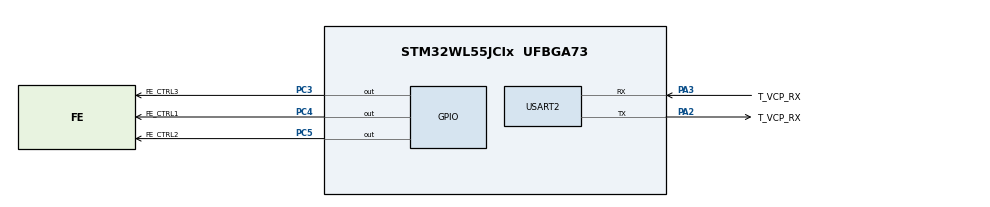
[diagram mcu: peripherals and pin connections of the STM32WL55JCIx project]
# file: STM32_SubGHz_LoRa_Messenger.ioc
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Mcu.Family=STM32WL
Mcu.Name=STM32WL55JCIx
Mcu.Package=UFBGA73
NVIC.PriorityGroup=NVIC_PRIORITYGROUP_4
NVIC.SUBGHZ_Radio_IRQn=true\:0\:0\:false\:false\:true\:true\:true\:true
NVIC.USART2_IRQn=true\:0\:0\:false\:false\:true\:true\:true\:true
PA2.GPIO_Label=T_VCP_RX
PA2.Mode=Asynchronous
PA2.Signal=USART2_TX
PA3.GPIO_Label=T_VCP_RX
PA3.Mode=Asynchronous
PA3.Signal=USART2_RX
PC14-OSC32_IN.GPIO_Label=RCC_OSC32_IN
PC14-OSC32_IN.Signal=RCC_OSC32_IN
PC15-OSC32_OUT.GPIO_Label=RCC_OSC32_OUT
PC15-OSC32_OUT.Signal=RCC_OSC32_OUT
PC3.GPIO_Label=FE_CTRL3
PC3.GPIO_Speed=GPIO_SPEED_FREQ_VERY_HIGH
PC3.Signal=GPIO_Output
PC4.GPIO_Label=FE_CTRL1
PC4.GPIO_Speed=GPIO_SPEED_FREQ_VERY_HIGH
PC4.Signal=GPIO_Output
PC5.GPIO_Label=FE_CTRL2
PC5.GPIO_Speed=GPIO_SPEED_FREQ_VERY_HIGH
PC5.Signal=GPIO_Output
ProjectManager.HeapSize=0x200
ProjectManager.StackSize=0x400
ProjectManager.TargetToolchain=STM32CubeIDE
RCC.AHBFreq_Value=48000000
RCC.APB1Freq_Value=48000000
RCC.APB1TimFreq_Value=48000000
RCC.APB2Freq_Value=48000000
RCC.APB2TimFreq_Value=48000000
RCC.APB3Freq_Value=48000000
RCC.CortexFreq_Value=48000000
RCC.HCLKFreq_Value=48000000
RCC.HSE_VALUE=32000000
RCC.HSI_VALUE=16000000
RCC.LSE_VALUE=32768
RCC.MSIClockRange=RCC_MSIRANGE_11
RCC.SYSCLKFreq_VALUE=48000000
RCC.VCOOutputFreq_Value=384000000
SUBGHZ.BaudratePrescaler=SUBGHZSPI_BAUDRATEPRESCALER_4
USART2.VirtualMode-Asynchronous=VM_ASYNC
VP_SUBGHZ_VS_SUBGHZ.Mode=SUBGHZ_Activate
board=NUCLEO-WL55JC1

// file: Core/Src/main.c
/* USER CODE BEGIN Header */
/**
  ******************************************************************************
  * @file           : main.c
  * @brief          : Main program body
  ******************************************************************************
  * @attention
  *
  * Copyright (c) 2025 STMicroelectronics.
  * All rights reserved.
  *
  * This software is licensed under terms that can be found in the LICENSE file
  * in the root directory of this software component.
  * If no LICENSE file comes with this software, it is provided AS-IS.
  *
  ******************************************************************************
  */
/* USER CODE END Header */
#include "main.h"
#include "subghz.h"
#include "usart.h"
#include "gpio.h"

/* USER CODE BEGIN Includes */

#include "radio_driver.h"
#include "stm32wlxx_nucleo.h" // Gives LED helpers

/* USER CODE END Includes */

/* USER CODE BEGIN PTD */

typedef enum{
	MASTER,
	SLAVE
} State;

typedef enum{
	RX,
	TX
} SubState;

typedef struct{
	State state;
	SubState subState;
	uint32_t rxTimeout, txDelay;
	uint8_t rxLen;
	char rxBuffer[RX_BUFFER_SIZE];
} SessionContext;

/* USER CODE END PTD */

/* USER CODE BEGIN PM */

#define MAX_BUFFER_SIZE 		256
#define RF_FREQ		 			868000000 	// Hz = 868 MHz - Ranges in PK {433.05 - 434.79}, {865 - 869}, {920 - 925}
#define TX_POWER		 		14        	// dBm
#define LORA_BANDWIDTH 			LORA_BW_125	// 125 kHz
#define LORA_SPREADING_FACTOR 	LORA_SF7	// SF7
#define LORA_CODING_RATE 		LORA_CR_4_5	// 4/5
#define LORA_PREAMBLE_LENGTH 	8         	// Same for Tx and Rx
#define RETRY_LIMIT				10

/* USER CODE END PM */

/* USER CODE BEGIN PV */

uint8_t buffer[MAX_BUFFER_SIZE], output[MAX_BUFFER_SIZE], input[1];
uint16_t count = 0, retries = RETRY_LIMIT;
bool messageReady = false, connected = false;
char id[21] = "\r\nSetting your ID as", backup[MAX_BUFFER_SIZE];
int idLen = -2;

void (*volatile currentEvent)(SessionContext*);
PacketParams_t packetParams;

/* USER CODE END PV */

void SystemClock_Config(void);
/* USER CODE BEGIN PFP */

void UART_Transmit(const char*);
void interruptTerminal(const char*);
void resetTerminal();

void Radio_Init();
void Radio_DIO_IRq_Callback_Handler(const RadioIrqMasks_t);
void SUBGRF_Transmit(uint8_t*, const uint8_t);

void error_event(SessionContext*);
void RX_done_event(SessionContext*);
void start_RX_mode(SessionContext*);
void start_TX_mode(SessionContext*);

void prepareMessage(const char*);

/* USER CODE END PFP */

int main(void)
{

  /* MCU Configuration--------------------------------------------------------*/

  /* Reset of all peripherals, Initializes the Flash interface and the Systick. */
  HAL_Init();

  /* Configure the system clock */
  SystemClock_Config();

  /* USER CODE BEGIN SysInit */

  HAL_Delay(3000);

  /* USER CODE END SysInit */

  /* Initialize all configured peripherals */
  MX_GPIO_Init();
  MX_SUBGHZ_Init();
  MX_USART2_UART_Init();
  /* USER CODE BEGIN 2 */

  BSP_LED_Init(LED_BLUE);	// Connected Master
  BSP_LED_Init(LED_GREEN);	// Connected Slave
  BSP_LED_Init(LED_RED);	// Disconnected

  Radio_Init();

  /* USER CODE END 2 */

  /* Infinite loop */
  /* USER CODE BEGIN WHILE */

  snprintf((char*)buffer, MAX_BUFFER_SIZE, "\r\n\r\nSTM32 SubGHz LoRa Messenger\r\n\r\nPlease Enter an ID of maximum 20 characters: ");
  UART_Transmit((char*)buffer);
  while(!messageReady) HAL_UART_Receive_IT(&huart2, input, 1);
  HAL_NVIC_DisableIRQ(USART2_IRQn);
  idLen = snprintf(id, 20, "%s", (char*)output);
  UART_Transmit(id);
  UART_Transmit("\r\n\r\n");
  resetTerminal();

  BSP_LED_On(LED_RED); 							// Disconnected at first

  SessionContext sessionContext = {
		  .state = MASTER,						// Start as Master
		  .rxTimeout = 3000,					// ms
		  // get random number from Radio's RNG (from RSSI noise)
		  .txDelay = SUBGRF_GetRandom() >> 22	// (0 to 1023) ms
  };
  start_RX_mode(&sessionContext);				// Start by listening

  HAL_NVIC_EnableIRQ(USART2_IRQn);
  messageReady = false;

  while(1){
    /* USER CODE END WHILE */

	currentEvent = NULL;
	while(!currentEvent) HAL_UART_Receive_IT(&huart2, input, 1);
	currentEvent(&sessionContext);

  }
}

void SystemClock_Config(void)
{
  RCC_OscInitTypeDef RCC_OscInitStruct = {0};
  RCC_ClkInitTypeDef RCC_ClkInitStruct = {0};

  /** Configure the main internal regulator output voltage
  */
  __HAL_PWR_VOLTAGESCALING_CONFIG(PWR_REGULATOR_VOLTAGE_SCALE1);

  /** Initializes the CPU, AHB and APB buses clocks
  */
  RCC_OscInitStruct.OscillatorType = RCC_OSCILLATORTYPE_MSI;
  RCC_OscInitStruct.MSIState = RCC_MSI_ON;
  RCC_OscInitStruct.MSICalibrationValue = RCC_MSICALIBRATION_DEFAULT;
  RCC_OscInitStruct.MSIClockRange = RCC_MSIRANGE_11;
  RCC_OscInitStruct.PLL.PLLState = RCC_PLL_NONE;
  if (HAL_RCC_OscConfig(&RCC_OscInitStruct) != HAL_OK)
  {
    Error_Handler();
  }

  /** Configure the SYSCLKSource, HCLK, PCLK1 and PCLK2 clocks dividers
  */
  RCC_ClkInitStruct.ClockType = RCC_CLOCKTYPE_HCLK3|RCC_CLOCKTYPE_HCLK
                              |RCC_CLOCKTYPE_SYSCLK|RCC_CLOCKTYPE_PCLK1
                              |RCC_CLOCKTYPE_PCLK2;
  RCC_ClkInitStruct.SYSCLKSource = RCC_SYSCLKSOURCE_MSI;
  RCC_ClkInitStruct.AHBCLKDivider = RCC_SYSCLK_DIV1;
  RCC_ClkInitStruct.APB1CLKDivider = RCC_HCLK_DIV1;
  RCC_ClkInitStruct.APB2CLKDivider = RCC_HCLK_DIV1;
  RCC_ClkInitStruct.AHBCLK3Divider = RCC_SYSCLK_DIV1;

  if (HAL_RCC_ClockConfig(&RCC_ClkInitStruct, FLASH_LATENCY_2) != HAL_OK)
  {
    Error_Handler();
  }
}

/* USER CODE BEGIN 4 */
/* 👆🏼
 *  Enables backup domain access, sets LSE drive, uses MSI as SYSCLK, no PLL;
 *  APB clocks = AHB = SYSCLK;
 *  flash latency 2.
 *  This is a low-power, simple config suitable for the WL.
 */

void UART_Transmit(const char* string){
	HAL_UART_Transmit(&huart2, (uint8_t*)string, strlen(string), HAL_MAX_DELAY);
}

void resetTerminal(){
	count = snprintf((char*)buffer, MAX_BUFFER_SIZE, "%s: ", id);
	UART_Transmit((char*)buffer);
}

void interruptTerminal(const char* interruption){
	for(uint16_t x = 0; x < count; x++) UART_Transmit("\b \b");
	UART_Transmit("\r\n");
	UART_Transmit(interruption);
	UART_Transmit("\r\n\r\n");
	HAL_UART_Transmit(&huart2, buffer, count, HAL_MAX_DELAY);
}

void HAL_UART_RxCpltCallback(UART_HandleTypeDef *huart){
	switch(input[0]){
		case 0xd:	// carriage return
		case 0xa:	// line feed
			UART_Transmit("\r\n");
			sprintf((char*)output, "%s", (char*)buffer);
			output[count] = '\0';
			messageReady = true;
			resetTerminal();
			break;

		case 0x8:	// backspace
			if(count > (idLen + 2)){
				count--;
				UART_Transmit("\b \b");
			}
			break;

		default:
			if(count < MAX_BUFFER_SIZE){
				buffer[count++] = input[0];
				HAL_UART_Transmit(huart, input, 1, HAL_MAX_DELAY);
			}
	}
}

void Radio_DIO_IRq_Callback_Handler(const RadioIrqMasks_t radioIRq){
	switch(radioIRq){
		case IRQ_TX_DONE:
			currentEvent = start_RX_mode;
			return;

		case IRQ_RX_DONE:
			if(!connected){
				connected = true;
				retries = 0;
				BSP_LED_Off(LED_RED);
				interruptTerminal("Connected");
			}
			currentEvent = RX_done_event;
			return;

		case IRQ_RX_TX_TIMEOUT:
			switch(SUBGRF_GetOperatingMode()){
				case MODE_TX: // TX Timeout
					interruptTerminal("TX TIMEOUT");
					break;

				case MODE_RX:	// RX Timeout
					if(connected) if(++retries > RETRY_LIMIT){
						connected = false;
						BSP_LED_On(LED_RED);
						BSP_LED_Off(LED_BLUE|LED_GREEN);
						interruptTerminal("Disconnected");
					}
					break;
				default:break;
			}
			break;

		case IRQ_CRC_ERROR: // Rx Error
			interruptTerminal("RX CRC ERROR");
			prepareMessage("\\\\\\");
		default: break;
	}
	currentEvent = error_event;
}

/** Initialize the Sub-GHz radio and dependent hardware.
  */
void Radio_Init(){
	// Initialize the hardware (SPI bus, TCXO control, RF switch) or the SUBGHZ (SX126x) and registers the IRQ callback.
	SUBGRF_Init(Radio_DIO_IRq_Callback_Handler);

	// Use DCDC converter if `DCDC_ENABLE` is defined in radio_conf.h
	// "By default, the SMPS clock detection is disabled and must be enabled before enabling the SMPS." (6.1 in RM0453)
	SUBGRF_WriteRegister(SUBGHZ_SMPSC0R, (SUBGRF_ReadRegister(SUBGHZ_SMPSC0R) | SMPS_CLK_DET_ENABLE));
	SUBGRF_SetRegulatorMode(); // use DCDC if configured in radio_conf.h

	// Use the whole 256-byte buffer for both TX and RX (starting at 0)
	SUBGRF_SetBufferBaseAddress(0x00, 0x00);

	SUBGRF_SetRfFrequency(RF_FREQ);
	SUBGRF_SetRfTxPower(TX_POWER);
	SUBGRF_SetStopRxTimerOnPreambleDetect(false);

	SUBGRF_SetPacketType(PACKET_TYPE_LORA);

	// Sets LoRa private syncword (not the public 0x34). Ensures you only talk to your nodes (not public network).
	SUBGRF_WriteRegister(REG_LR_SYNCWORD, (LORA_MAC_PRIVATE_SYNCWORD >> 8) & 0xFF);
	SUBGRF_WriteRegister(REG_LR_SYNCWORD + 1, LORA_MAC_PRIVATE_SYNCWORD & 0xFF);

	// Applies SF/BW/CR. Low data rate optimize off (OK for SF7/BW125).
	ModulationParams_t modulationParams;
	modulationParams.PacketType = PACKET_TYPE_LORA;
	modulationParams.Params.LoRa.Bandwidth = LORA_BANDWIDTH;
	modulationParams.Params.LoRa.CodingRate = LORA_CODING_RATE;
	modulationParams.Params.LoRa.LowDatarateOptimize = 0x00;
	modulationParams.Params.LoRa.SpreadingFactor = LORA_SPREADING_FACTOR;
	SUBGRF_SetModulationParams(&modulationParams);

	// CRC on, variable length, normal IQ, long RX FIFO length.
	packetParams.PacketType = PACKET_TYPE_LORA;
	packetParams.Params.LoRa.CrcMode = LORA_CRC_ON;
	packetParams.Params.LoRa.HeaderType = LORA_PACKET_VARIABLE_LENGTH;
	packetParams.Params.LoRa.InvertIQ = LORA_IQ_NORMAL;
	packetParams.Params.LoRa.PayloadLength = 0xFF;
	packetParams.Params.LoRa.PreambleLength = LORA_PREAMBLE_LENGTH;
	SUBGRF_SetPacketParams(&packetParams);

	// WORKAROUND - Optimizing the Inverted IQ Operation, see DS_SX1261-2_V1.2 datasheet chapter 15.4
	// RegIqPolaritySetup @address 0x0736
	// SX126x errata: improves IQ handling (safe even with normal IQ).
	SUBGRF_WriteRegister(0x0736, SUBGRF_ReadRegister(0x0736) | (1 << 2));
}

void SUBGRF_Transmit(uint8_t* payload, const uint8_t size){
	uint16_t mask = IRQ_TX_DONE | IRQ_RX_TX_TIMEOUT;
	SUBGRF_SetDioIrqParams(mask, mask, IRQ_RADIO_NONE, IRQ_RADIO_NONE);
	SUBGRF_SetSwitch(RFO_LP, RFSWITCH_TX);
	// Workaround 5.1 in DS.SX1261-2.W.APP (before each packet transmission)
	// SX126x errata 5.1: set bit before each TX
	SUBGRF_WriteRegister(0x0889, (SUBGRF_ReadRegister(0x0889) | 0x04));
	packetParams.Params.LoRa.PayloadLength = size;
	SUBGRF_SetPacketParams(&packetParams);
	SUBGRF_SendPayload(payload, size, 0);
}

void start_TX_mode(SessionContext *sessionContext)
{
	HAL_Delay(sessionContext->txDelay);						// Delay to allow one to be fixed as Master and the other as slave
	sessionContext->subState = TX;

	if(messageReady){										// Send Message if ready instead of \\\PING / \\\PONG
		uint8_t size = sprintf(backup, "%s", (char*)output);
		backup[size++] = '\0';								// + 1 for last null character
		SUBGRF_Transmit(output, size);
		messageReady = false;
	}else{
		SUBGRF_Transmit((uint8_t*)((sessionContext->state == MASTER)?"\\\\\\PING":"\\\\\\PONG"), 7);
	}
}

void start_RX_mode(SessionContext *sessionContext){
	sessionContext->subState = RX;

	uint16_t mask = IRQ_RX_DONE | IRQ_RX_TX_TIMEOUT | IRQ_CRC_ERROR | IRQ_HEADER_ERROR;
	// Arm radio IRQs for RX done, timeout, CRC error
	SUBGRF_SetDioIrqParams(mask, mask, IRQ_RADIO_NONE, IRQ_RADIO_NONE);
	// Set RF switch to RX path on low-power PA path
	SUBGRF_SetSwitch(RFO_LP, RFSWITCH_RX);

	packetParams.Params.LoRa.PayloadLength = 0xFF;	// Maximum Length
	SUBGRF_SetPacketParams(&packetParams);
	// SetRx(timeout): SX126x timeout units are 15.625 µs (1/64 ms). Multiplying ms by 64 = << 6.
	SUBGRF_SetRx(sessionContext->rxTimeout << 6);
}

void error_event(SessionContext *sessionContext){
	if(sessionContext->state == MASTER){
		start_TX_mode(sessionContext);
	}else{
		start_RX_mode(sessionContext);
	}
}

void RX_done_event(SessionContext *sessionContext){
	// Initialize with MASTER values
	Led_TypeDef desiredLED = LED_BLUE, undesiredLED = LED_GREEN;
	char desiredChar = 'O';
	PacketStatus_t packetStatus;

	// Workaround 15.3 in DS.SX1261-2.W.APP (following RX w/ timeout sequence fix)
	SUBGRF_WriteRegister(0x0920, 0x00);
	SUBGRF_WriteRegister(0x0944, (SUBGRF_ReadRegister(0x0944) | 0x02));

	SUBGRF_GetPayload((uint8_t *)sessionContext->rxBuffer, &sessionContext->rxLen, 0xFF);
	SUBGRF_GetPacketStatus(&packetStatus);

	if(sessionContext->state == SLAVE){
		desiredChar = 'I';
		desiredLED = LED_GREEN;
		undesiredLED = LED_BLUE;
	}

	if ((sessionContext->rxBuffer[0] == '\\') && (sessionContext->rxBuffer[1] == '\\') && (sessionContext->rxBuffer[2] == '\\')){
		if(sessionContext->rxBuffer[4] == desiredChar){
			BSP_LED_Off(undesiredLED);
			BSP_LED_Toggle(desiredLED);
			start_TX_mode(sessionContext);
			return;
		}
		else if(sessionContext->rxBuffer[4] == '\0'){
			interruptTerminal("TX CRC Error");
			prepareMessage(backup);
		}else{								// unDesired char
			sessionContext->state = SLAVE;
		}
	}else{
		interruptTerminal(sessionContext->rxBuffer);
	}
	start_RX_mode(sessionContext);
}

void prepareMessage(const char* message){
	uint8_t size = snprintf((char*)output, MAX_BUFFER_SIZE, "%s", message);
	output[size] = '\0';
	messageReady = true;
}

/* USER CODE END 4 */

void Error_Handler(void)
{
  __disable_irq();
  while (1)
  {
  }
}
